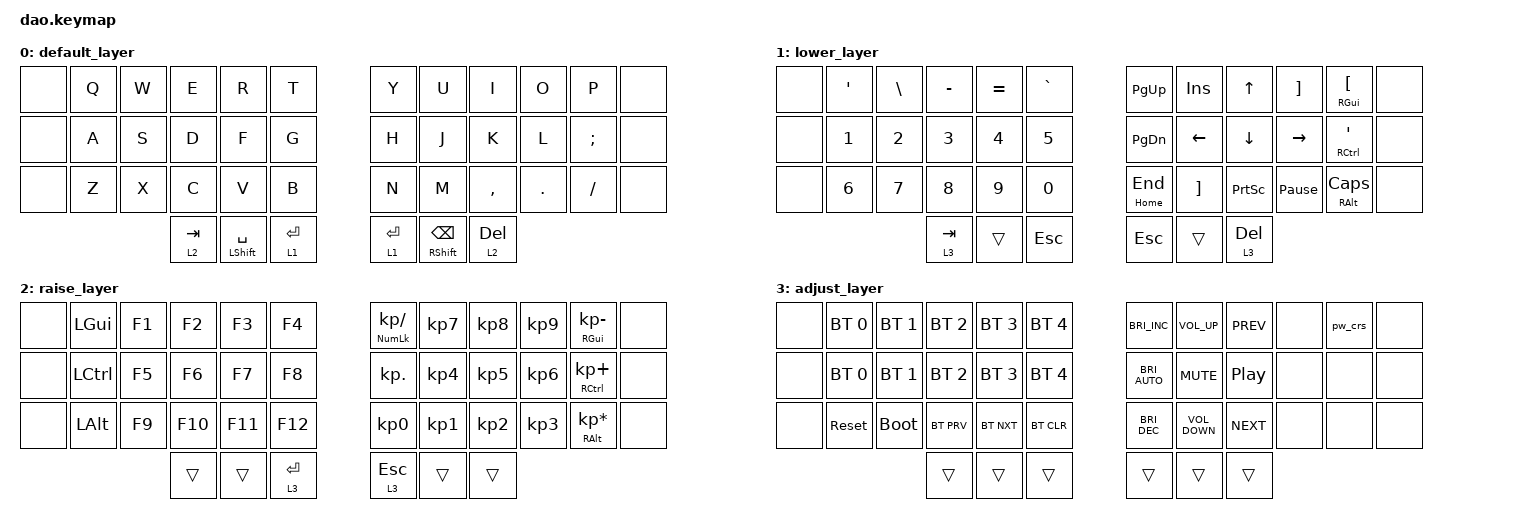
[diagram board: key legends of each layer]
/*
 * Copyright (c) 2021 Rafael Yumagulov
 *
 * SPDX-License-Identifier: MIT
 */

#include <behaviors.dtsi>
#include <dt-bindings/zmk/bt.h>
#include <dt-bindings/zmk/keys.h>

#define DEF 0
#define LWR 1
#define RSE 2
#define ADJ 3

&lt { quick_tap_ms = <200>; };

&mt { quick_tap_ms = <200>; };

/ {
    chosen {
        zmk,matrix_transform = &default_transform;

        // zmk,matrix_transform = &extra_keys_transform;
    };
};

/ {
    combos {
        compatible = "zmk,combos";

        rus_he {
            bindings = <&kp LEFT_BRACKET>;
            key-positions = <9 10>;
        };

        rus_e {
            bindings = <&kp SINGLE_QUOTE>;
            key-positions = <22 21>;
        };

        rus_hard {
            bindings = <&kp RIGHT_BRACKET>;
            key-positions = <31 32>;
        };

        rus_yo {
            bindings = <&kp GRAVE>;
            key-positions = <4 5>;
        };

        DFG {
            bindings = <&kp LS(LEFT_ALT)>;
            key-positions = <16 15 14>;
        };

        iOS_lang {
            bindings = <&kp LC(SPACE)>;
            key-positions = <2 3 4>;
        };

        com_GUI {
            bindings = <&sk LEFT_GUI>;
            key-positions = <1 2>;
        };

        com_Ctrl {
            bindings = <&sk LEFT_CONTROL>;
            key-positions = <13 14>;
        };

        com_Alt {
            bindings = <&sk LEFT_ALT>;
            key-positions = <25 26>;
        };

        JKL {
            bindings = <&kp RS(RIGHT_ALT)>;
            key-positions = <19 20 21>;
        };
    };

    macros {
        pw_crs: pw_crs {
            compatible = "zmk,behavior-macro";
            #binding-cells = <0>;
            bindings = <&kp LS(Q) &kp W &kp E &kp R &kp T &kp N5 &kp N4 &kp N3 &kp N2 &kp EXCL>;
            label = "PW_CRS";
        };
    };

    keymap {
        compatible = "zmk,keymap";

        default_layer {
            bindings = <
&none  &kp Q  &kp W  &kp E      &kp R            &kp T        &kp Y        &kp U                &kp I         &kp O    &kp P          &none
&none  &kp A  &kp S  &kp D      &kp F            &kp G        &kp H        &kp J                &kp K         &kp L    &kp SEMICOLON  &none
&none  &kp Z  &kp X  &kp C      &kp V            &kp B        &kp N        &kp M                &kp COMMA     &kp DOT  &kp SLASH      &none
                     &lt 2 TAB  &mt LSHFT SPACE  &lt 1 ENTER  &lt 1 ENTER  &mt RSHFT BACKSPACE  &lt 2 DELETE
            >;
        };

        lower_layer {
            bindings = <
&none  &kp SINGLE_QUOTE  &kp BACKSLASH  &kp MINUS     &kp EQUAL     &kp GRAVE     &kp PAGE_UP    &kp INSERT         &kp UP_ARROW     &kp RIGHT_BRACKET  &mt RGUI LEFT_BRACKET           &none
&none  &kp NUMBER_1      &kp NUMBER_2   &kp NUMBER_3  &kp NUMBER_4  &kp NUMBER_5  &kp PAGE_DOWN  &kp LEFT           &kp DOWN_ARROW   &kp RIGHT          &mt RIGHT_CONTROL SINGLE_QUOTE  &none
&none  &kp N6            &kp NUMBER_7   &kp NUMBER_8  &kp NUMBER_9  &kp NUMBER_0  &mt HOME END   &kp RIGHT_BRACKET  &kp PRINTSCREEN  &kp PAUSE_BREAK    &mt RALT CAPSLOCK               &none
                                        &lt 3 TAB     &trans        &kp ESCAPE    &kp ESCAPE     &trans             &lt 3 DEL
            >;
        };

        raise_layer {
            bindings = <
&none  &kp LEFT_GUI      &kp F1  &kp F2   &kp F3   &kp F4     &mt KP_NUMLOCK KP_DIVIDE  &kp KP_NUMBER_7  &kp KP_NUMBER_8  &kp KP_NUMBER_9  &mt RIGHT_GUI KP_SUBTRACT  &none
&none  &kp LEFT_CONTROL  &kp F5  &kp F6   &kp F7   &kp F8     &kp KP_DOT                &kp KP_NUMBER_4  &kp KP_NUMBER_5  &kp KP_NUMBER_6  &mt RIGHT_CONTROL KP_PLUS  &none
&none  &kp LEFT_ALT      &kp F9  &kp F10  &kp F11  &kp F12    &kp KP_NUMBER_0           &kp KP_NUMBER_1  &kp KP_NUMBER_2  &kp KP_NUMBER_3  &mt RIGHT_ALT KP_MULTIPLY  &none
                                 &trans   &trans   &lt 3 RET  &lt 3 ESC                 &trans           &trans
            >;
        };

        adjust_layer {
            bindings = <
&none  &bt BT_SEL 0  &bt BT_SEL 1  &bt BT_SEL 2  &bt BT_SEL 3  &bt BT_SEL 4  &kp C_BRIGHTNESS_INC   &kp C_VOLUME_UP    &kp C_PREV        &none  &pw_crs  &none
&none  &bt BT_SEL 0  &bt BT_SEL 1  &bt BT_SEL 2  &bt BT_SEL 3  &bt BT_SEL 4  &kp C_BRIGHTNESS_AUTO  &kp C_MUTE         &kp C_PLAY_PAUSE  &none  &none    &none
&none  &sys_reset    &bootloader   &bt BT_PRV    &bt BT_NXT    &bt BT_CLR    &kp C_BRIGHTNESS_DEC   &kp C_VOLUME_DOWN  &kp C_NEXT        &none  &none    &none
                                   &trans        &trans        &trans        &trans                 &trans             &trans
            >;
        };
    };
};
